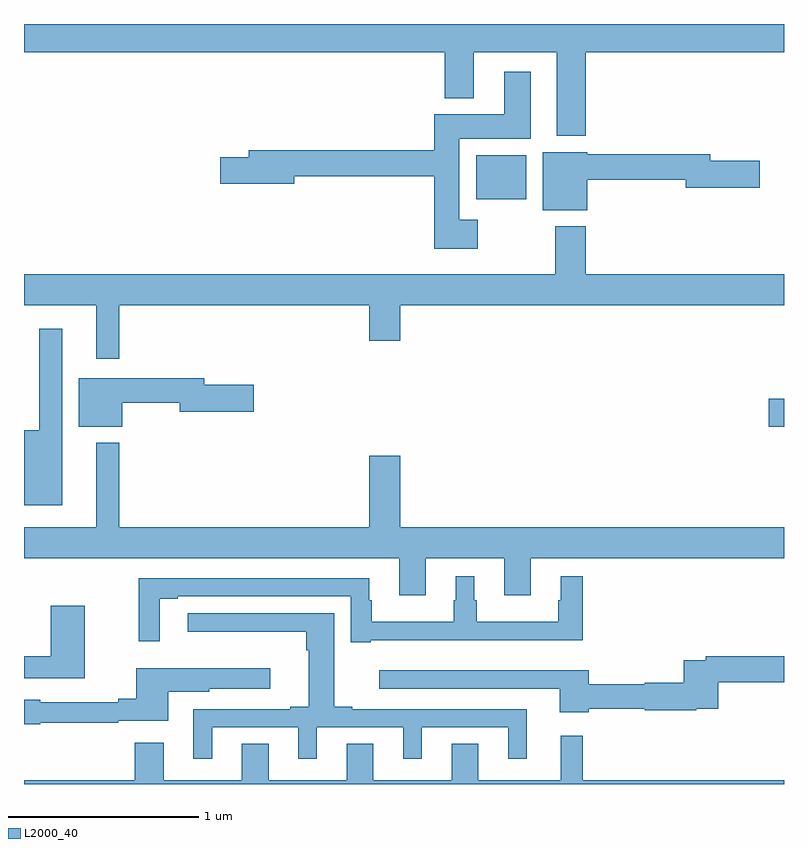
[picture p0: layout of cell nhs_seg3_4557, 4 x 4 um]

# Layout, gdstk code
import gdstk
lib = gdstk.Library(unit=1e-6, precision=1e-09)
def R(c, l, rs):  # rectangles x0, y0, x1, y1
    for r in rs: c.add(gdstk.rectangle(r[:2], r[2:], *l))
def P(c, l, *ps):  # polygons
    for p in ps: c.add(gdstk.Polygon(p, *l))
L2000_40 = (2000, 40)

nhs_seg3_4557 = lib.new_cell('nhs_seg3_4557')
R(nhs_seg3_4557, L2000_40, [(358.92,696.281,359,696.428), (357.38,697.478,357.643,697.708)])
P(nhs_seg3_4557, L2000_40, [(357.956,698.252),(359,698.252),(359,698.4),(355,698.4),(355,698.252),(357.215,698.252),(357.215,698.009),(357.367,698.009),(357.367,698.252),(357.803,698.252),(357.803,697.811),(357.956,697.811)],
  [(357.388,697.369),(357.292,697.369),(357.292,697.796),(357.667,697.796),(357.667,698.149),(357.527,698.149),(357.527,697.924),(357.158,697.924),(357.158,697.736),(356.183,697.736),(356.183,697.7),(356.034,697.7),(356.034,697.558),(356.422,697.558),(356.422,697.6),(357.158,697.6),(357.158,697.217),(357.388,697.217)],
  [(357.964,697.579),(358.484,697.579),(358.484,697.537),(358.873,697.537),(358.873,697.679),(358.612,697.679),(358.612,697.715),(357.964,697.715),(357.964,697.726),(357.731,697.726),(357.731,697.421),(357.964,697.421)],
  [(355.501,696.92),(356.816,696.92),(356.816,696.732),(356.98,696.732),(356.98,696.92),(359,696.92),(359,697.084),(357.956,697.084),(357.956,697.336),(357.796,697.336),(357.796,697.084),(355,697.084),(355,696.92),(355.379,696.92),(355.379,696.639),(355.501,696.639)],
  [(355.201,696.796),(355.08,696.796),(355.08,696.262),(355,696.262),(355,695.867),(355.201,695.867)],
  [(355.516,696.406),(355.82,696.406),(355.82,696.359),(356.209,696.359),(356.209,696.501),(355.948,696.501),(355.948,696.535),(355.289,696.535),(355.289,696.281),(355.516,696.281)],
  [(357.115,695.588),(357.527,695.588),(357.527,695.394),(357.667,695.394),(357.667,695.588),(359,695.588),(359,695.752),(356.98,695.752),(356.98,696.127),(356.816,696.127),(356.816,695.752),(355.501,695.752),(355.501,696.196),(355.379,696.196),(355.379,695.752),(355,695.752),(355,695.588),(356.975,695.588),(356.975,695.394),(357.115,695.394)],
  [(356.824,695.156),(357.941,695.156),(357.941,695.494),(357.824,695.494),(357.824,695.366),(357.813,695.366),(357.813,695.254),(357.382,695.254),(357.382,695.366),(357.37,695.366),(357.37,695.494),(357.272,695.494),(357.272,695.366),(357.261,695.366),(357.261,695.254),(356.83,695.254),(356.83,695.366),(356.818,695.366),(356.818,695.484),(355.605,695.484),(355.605,695.151),(355.714,695.151),(355.714,695.376),(355.81,695.376),(355.81,695.388),(356.721,695.388),(356.721,695.145),(356.824,695.145)],
  [(355.32,695.338),(355.142,695.338),(355.142,695.072),(355,695.072),(355,694.956),(355.32,694.956)],
  [(355.99,694.698),(356.444,694.698),(356.444,694.533),(356.542,694.533),(356.542,694.698),(356.996,694.698),(356.996,694.533),(357.094,694.533),(357.094,694.698),(357.548,694.698),(357.548,694.533),(357.647,694.533),(357.647,694.794),(356.728,694.794),(356.728,694.807),(356.632,694.807),(356.632,695.298),(355.863,695.298),(355.863,695.201),(356.486,695.201),(356.486,695.105),(356.498,695.105),(356.498,694.807),(356.402,694.807),(356.402,694.794),(355.892,694.794),(355.892,694.533),(355.99,694.533)],
  [(357.972,694.797),(358.266,694.797),(358.266,694.789),(358.538,694.789),(358.538,694.796),(358.655,694.796),(358.655,694.936),(359,694.936),(359,695.072),(358.588,695.072),(358.588,695.052),(358.472,695.052),(358.472,694.933),(358.266,694.933),(358.266,694.925),(357.972,694.925),(357.972,694.999),(356.871,694.999),(356.871,694.902),(357.821,694.902),(357.821,694.778),(357.972,694.778)],
  [(355.086,694.722),(355.496,694.722),(355.496,694.734),(355.759,694.734),(355.759,694.886),(355.974,694.886),(355.974,694.901),(356.296,694.901),(356.296,695.008),(355.592,695.008),(355.592,694.85),(355.496,694.85),(355.496,694.831),(355.086,694.831),(355.086,694.843),(355,694.843),(355,694.714),(355.086,694.714)],
  [(359,694.42),(357.941,694.42),(357.941,694.654),(357.824,694.654),(357.824,694.42),(357.391,694.42),(357.391,694.613),(357.251,694.613),(357.251,694.42),(356.839,694.42),(356.839,694.613),(356.699,694.613),(356.699,694.42),(356.287,694.42),(356.287,694.613),(356.147,694.613),(356.147,694.42),(355.735,694.42),(355.735,694.618),(355.583,694.618),(355.583,694.42),(355,694.42),(355,694.4),(359,694.4)])

lib.write_gds('nhs_seg3_4557.gds')
